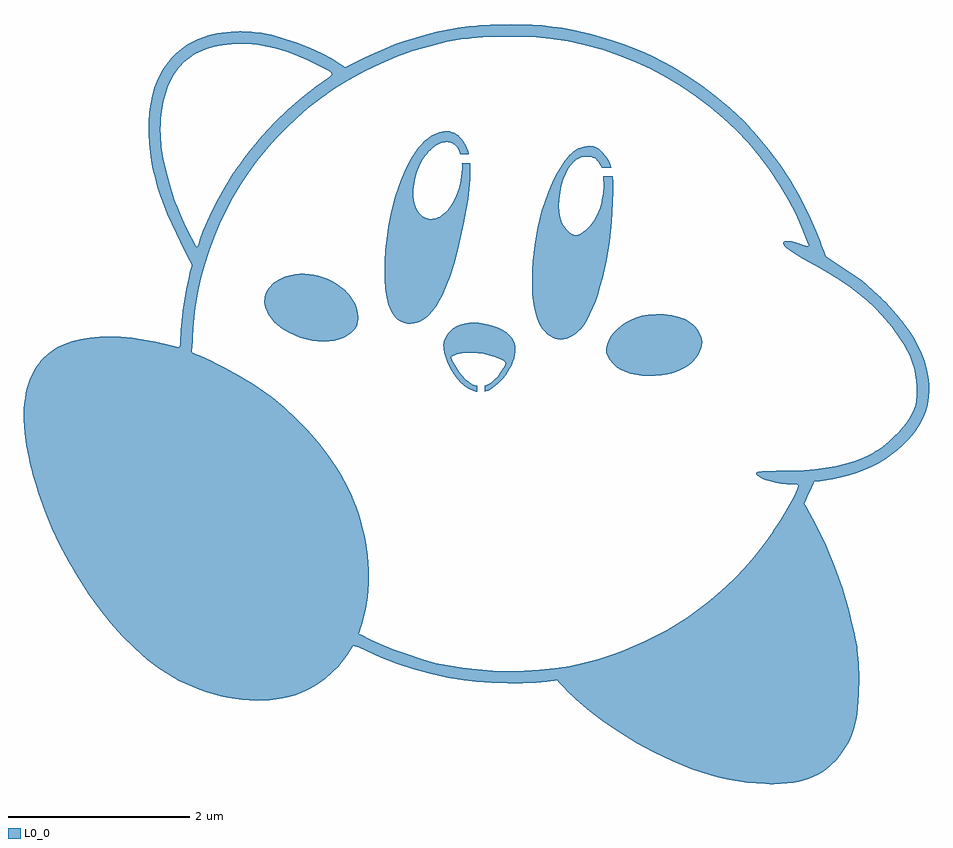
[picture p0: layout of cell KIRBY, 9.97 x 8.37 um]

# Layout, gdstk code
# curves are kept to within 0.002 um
import gdstk
lib = gdstk.Library(unit=1e-6, precision=1e-09)
def P(c, l, *ps):  # polygons
    for p in ps: c.add(gdstk.Polygon(p, *l))
L0_0 = (0, 0)

kirby = lib.new_cell('KIRBY')
P(kirby, L0_0, [(1.888,0.326),(1.818,0.329),(1.751,0.338),(1.688,0.352),(1.629,0.37),(1.577,0.394),(1.522,0.43),(1.457,0.502),(1.433,0.54),(1.419,0.574),(1.419,0.626),(1.428,0.673),(1.445,0.719),(1.469,0.762),(1.501,0.803),(1.538,0.842),(1.582,0.879),(1.631,0.912),(1.686,0.941),(1.746,0.967),(1.811,0.987),(1.883,1.001),(1.968,1.006),(2.057,1.003),(2.183,0.986),(2.228,0.973),(2.277,0.953),(2.337,0.919),(2.371,0.893),(2.402,0.865),(2.426,0.835),(2.446,0.803),(2.462,0.77),(2.471,0.736),(2.475,0.702),(2.471,0.665),(2.451,0.6),(2.421,0.54),(2.402,0.513),(2.355,0.463),(2.297,0.422),(2.226,0.386),(2.163,0.363),(2.097,0.346),(2.028,0.334),(1.958,0.327)],
  [(-1.695,0.705),(-1.821,0.715),(-1.885,0.728),(-1.95,0.747),(-2.014,0.772),(-2.071,0.799),(-2.121,0.828),(-2.207,0.89),(-2.242,0.923),(-2.298,0.994),(-2.318,1.032),(-2.334,1.068),(-2.343,1.106),(-2.347,1.143),(-2.344,1.18),(-2.336,1.218),(-2.314,1.268),(-2.285,1.31),(-2.249,1.347),(-2.228,1.363),(-2.178,1.393),(-2.122,1.416),(-2.055,1.435),(-2.005,1.445),(-1.956,1.449),(-1.854,1.447),(-1.754,1.428),(-1.704,1.413),(-1.609,1.372),(-1.563,1.346),(-1.519,1.316),(-1.478,1.285),(-1.427,1.235),(-1.389,1.187),(-1.349,1.121),(-1.324,1.052),(-1.317,1.018),(-1.314,0.952),(-1.318,0.921),(-1.338,0.863),(-1.358,0.834),(-1.39,0.8),(-1.429,0.772),(-1.474,0.748),(-1.523,0.729),(-1.576,0.716),(-1.634,0.708)],
  [(-2.437,-3.251),(-2.515,-3.248),(-2.67,-3.232),(-2.827,-3.201),(-2.983,-3.157),(-3.061,-3.131),(-3.138,-3.1),(-3.289,-3.03),(-3.434,-2.947),(-3.504,-2.901),(-3.637,-2.801),(-3.705,-2.741),(-3.776,-2.677),(-3.912,-2.54),(-4.043,-2.393),(-4.168,-2.237),(-4.287,-2.073),(-4.399,-1.9),(-4.503,-1.722),(-4.601,-1.538),(-4.688,-1.35),(-4.768,-1.157),(-4.837,-0.96),(-4.897,-0.762),(-4.931,-0.63),(-4.969,-0.44),(-4.988,-0.298),(-4.997,-0.164),(-4.996,-0.039),(-4.984,0.079),(-4.963,0.186),(-4.949,0.236),(-4.931,0.285),(-4.89,0.375),(-4.83,0.467),(-2.885,0.467),(-2.784,0.415),(-2.627,0.328),(-2.478,0.24),(-2.334,0.142),(-2.263,0.089),(-2.127,-0.022),(-1.996,-0.144),(-1.871,-0.272),(-1.755,-0.406),(-1.648,-0.545),(-1.551,-0.687),(-1.508,-0.758),(-1.429,-0.901),(-1.387,-0.99),(-1.35,-1.079),(-1.31,-1.192),(-1.287,-1.267),(-1.248,-1.421),(-1.219,-1.577),(-1.198,-1.808),(-1.198,-1.96),(-1.208,-2.106),(-1.217,-2.177),(-1.245,-2.313),(-1.277,-2.421),(-1.309,-2.514),(-1.079,-2.624),(-0.932,-2.684),(-0.77,-2.742),(-0.607,-2.795),(-0.457,-2.837),(-0.329,-2.864),(-0.168,-2.891),(-0.005,-2.908),(-0.005,-3.042),(-0.149,-3.027),(-0.329,-2.997),(-0.517,-2.954),(-0.704,-2.904),(-0.887,-2.844),(-1.061,-2.777),(-1.307,-2.665),(-1.367,-2.646),(-1.376,-2.653),(-1.431,-2.742),(-1.474,-2.801),(-1.535,-2.877),(-1.603,-2.946),(-1.675,-3.008),(-1.752,-3.065),(-1.836,-3.115),(-1.944,-3.167),(-2.009,-3.191),(-2.144,-3.226),(-2.215,-3.238),(-2.288,-3.246)],
  [(-4.83,0.467),(-4.809,0.493),(-4.742,0.56),(-4.665,0.618),(-4.629,0.639),(-4.551,0.676),(-4.465,0.707),(-4.371,0.73),(-4.27,0.747),(-4.162,0.758),(-4.048,0.76),(-3.929,0.756),(-3.804,0.745),(-3.675,0.727),(-3.543,0.702),(-3.407,0.67),(-3.298,0.64),(-3.283,0.641),(-3.274,0.668),(-3.269,0.827),(-3.245,1.046),(-3.208,1.28),(-3.148,1.553),(-3.274,1.802),(-3.37,2.002),(-3.416,2.109),(-3.494,2.313),(-3.552,2.508),(-3.575,2.602),(-3.605,2.789),(-3.615,2.882),(-3.621,2.999),(-3.621,3.09),(-3.614,3.229),(-3.602,3.327),(-3.584,3.415),(-3.559,3.499),(-3.527,3.582),(-3.477,3.681),(-3.444,3.732),(-3.409,3.781),(-3.33,3.869),(-3.238,3.945),(-3.189,3.978),(-3.136,4.008),(-3.022,4.059),(-2.961,4.08),(-2.869,4.101),(-2.712,4.12),(-2.625,4.122),(-2.488,4.118),(-2.421,4.109),(-2.422,3.973),(-2.483,3.98),(-2.625,3.985),(-2.712,3.981),(-2.812,3.97),(-2.905,3.953),(-2.991,3.927),(-3.071,3.893),(-3.143,3.852),(-3.209,3.802),(-3.269,3.745),(-3.296,3.714),(-3.344,3.646),(-3.387,3.569),(-3.436,3.441),(-3.462,3.346),(-3.479,3.243),(-3.488,3.162),(-3.492,3.042),(-3.481,2.852),(-3.461,2.718),(-3.431,2.579),(-3.37,2.362),(-3.315,2.206),(-3.229,2.006),(-3.149,1.841),(-3.117,1.782),(-3.096,1.75),(-3.087,1.75),(-3.072,1.776),(-3.058,1.826),(-3.025,1.918),(-2.979,2.028),(-2.921,2.149),(-2.855,2.276),(-2.784,2.402),(-2.694,2.552),(-2.641,2.63),(-2.509,2.808),(-2.428,2.905),(-2.429,2.689),(-2.523,2.559),(-2.611,2.425),(-2.694,2.287),(-2.77,2.146),(-2.838,2.001),(-2.901,1.853),(-2.956,1.703),(-3.005,1.55),(-3.047,1.395),(-3.081,1.238),(-3.107,1.079),(-3.127,0.919),(-3.147,0.585),(-3.102,0.563),(-3.055,0.546),(-2.934,0.492),(-2.885,0.467)],
  [(-2.429,2.689),(-2.428,2.905),(-2.377,2.965),(-2.235,3.118),(-2.085,3.262),(-1.932,3.396),(-1.777,3.519),(-1.622,3.627),(-1.607,3.642),(-1.612,3.667),(-1.658,3.699),(-1.867,3.805),(-2.012,3.865),(-2.158,3.914),(-2.234,3.935),(-2.31,3.953),(-2.422,3.973),(-2.421,4.109),(-2.379,4.105),(-2.299,4.09),(-2.13,4.043),(-1.988,3.995),(-1.849,3.94),(-1.717,3.88),(-1.601,3.818),(-1.458,3.726),(-1.247,3.832),(-1.022,3.933),(-0.909,3.978),(-0.796,4.018),(-0.567,4.087),(-0.45,4.115),(-0.216,4.16),(-0.01,4.185),(-0.01,4.054),(-0.15,4.038),(-0.336,4.005),(-0.522,3.96),(-0.707,3.906),(-0.889,3.841),(-1.068,3.767),(-1.243,3.682),(-1.414,3.589),(-1.577,3.488),(-1.738,3.375),(-1.868,3.274),(-1.991,3.167),(-2.109,3.055),(-2.222,2.938),(-2.328,2.816)],
  [(3.222,-4.17),(3.073,-4.164),(2.875,-4.14),(2.773,-4.122),(2.672,-4.1),(2.57,-4.073),(2.363,-4.006),(2.151,-3.921),(1.943,-3.821),(1.753,-3.719),(1.571,-3.607),(1.397,-3.488),(1.235,-3.366),(1.09,-3.241),(0.986,-3.141),(0.878,-3.027),(0.766,-3.042),(0.649,-3.053),(0.501,-3.059),(0.332,-3.059),(0.159,-3.053),(-0.005,-3.042),(-0.005,-2.908),(0.17,-2.921),(0.343,-2.926),(0.516,-2.922),(0.686,-2.912),(0.853,-2.894),(1.016,-2.87),(1.196,-2.83),(1.329,-2.794),(1.461,-2.753),(1.59,-2.707),(1.842,-2.6),(1.965,-2.539),(2.085,-2.474),(2.202,-2.405),(2.316,-2.331),(2.428,-2.252),(2.536,-2.17),(2.641,-2.082),(2.742,-1.992),(2.841,-1.897),(2.935,-1.799),(3.024,-1.697),(3.111,-1.591),(3.243,-1.411),(3.339,-1.259),(3.417,-1.128),(3.483,-1.01),(3.525,-0.922),(3.536,-0.891),(3.536,-0.878),(3.525,-0.871),(3.501,-0.867),(3.406,-0.866),(3.346,-0.86),(3.232,-0.837),(3.137,-0.805),(3.103,-0.786),(3.073,-0.759),(3.071,-0.746),(3.075,-0.737),(3.095,-0.731),(3.137,-0.726),(3.202,-0.722),(3.468,-0.719),(3.598,-0.713),(3.838,-0.687),(3.949,-0.667),(4.052,-0.642),(4.149,-0.613),(4.239,-0.579),(4.343,-0.531),(4.442,-0.47),(4.543,-0.387),(4.592,-0.34),(4.639,-0.292),(4.722,-0.193),(4.782,-0.098),(4.81,-0.038),(4.828,0.009),(4.959,0.01),(4.937,-0.067),(4.906,-0.144),(4.865,-0.219),(4.816,-0.293),(4.745,-0.378),(4.686,-0.438),(4.625,-0.493),(4.561,-0.545),(4.492,-0.592),(4.421,-0.635),(4.345,-0.674),(4.266,-0.71),(4.184,-0.74),(4.009,-0.791),(3.915,-0.81),(3.71,-0.841),(3.606,-1.07),(3.602,-1.081),(3.735,-1.322),(3.842,-1.546),(3.938,-1.778),(4.022,-2.018),(4.095,-2.266),(4.156,-2.52),(4.175,-2.611),(4.186,-2.69),(4.199,-2.839),(4.204,-3.007),(4.202,-3.178),(4.184,-3.401),(4.17,-3.484),(4.151,-3.55),(4.122,-3.633),(4.088,-3.708),(4.049,-3.778),(4.005,-3.841),(3.956,-3.901),(3.886,-3.97),(3.843,-4.006),(3.797,-4.039),(3.751,-4.067),(3.702,-4.092),(3.597,-4.131),(3.539,-4.145),(3.412,-4.162),(3.342,-4.167)],
  [(4.828,0.009),(4.836,0.055),(4.841,0.152),(4.839,0.206),(4.836,0.275),(4.826,0.342),(4.812,0.408),(4.792,0.473),(4.766,0.538),(4.695,0.673),(4.649,0.745),(4.562,0.865),(4.453,0.994),(4.376,1.075),(4.293,1.153),(4.204,1.228),(4.108,1.302),(3.888,1.447),(3.586,1.618),(3.481,1.682),(3.41,1.733),(3.373,1.77),(3.368,1.786),(3.369,1.798),(3.388,1.809),(3.421,1.812),(3.464,1.807),(3.517,1.795),(3.595,1.767),(3.649,1.752),(3.644,1.775),(3.603,1.885),(3.51,2.099),(3.423,2.269),(3.325,2.434),(3.219,2.593),(3.104,2.746),(2.981,2.892),(2.849,3.032),(2.71,3.163),(2.564,3.287),(2.411,3.403),(2.252,3.512),(2.088,3.612),(1.917,3.702),(1.742,3.783),(1.562,3.855),(1.378,3.918),(1.19,3.97),(0.998,4.012),(0.804,4.043),(0.648,4.056),(0.452,4.063),(0.248,4.065),(0.059,4.059),(-0.01,4.054),(-0.01,4.185),(0.143,4.196),(0.379,4.203),(0.605,4.196),(0.716,4.187),(0.933,4.16),(1.042,4.14),(1.258,4.09),(1.477,4.026),(1.73,3.935),(1.838,3.89),(1.942,3.842),(2.152,3.73),(2.285,3.65),(2.459,3.534),(2.626,3.408),(2.785,3.273),(2.937,3.129),(3.079,2.978),(3.212,2.819),(3.337,2.652),(3.451,2.478),(3.556,2.296),(3.651,2.109),(3.735,1.918),(3.838,1.643),(4.168,1.426),(4.232,1.378),(4.356,1.272),(4.497,1.135),(4.621,1),(4.692,0.913),(4.756,0.826),(4.811,0.74),(4.858,0.655),(4.897,0.57),(4.928,0.487),(4.951,0.402),(4.966,0.318),(4.975,0.232),(4.976,0.146),(4.973,0.1),(4.959,0.01)],
  [(1.236,2.859),(1.276,2.856),(1.306,2.847),(1.337,2.826),(1.376,2.788),(1.413,2.747),(1.443,2.706),(1.465,2.659),(1.476,2.621),(1.369,2.621),(1.335,2.682),(1.308,2.712),(1.272,2.732),(1.231,2.742),(1.204,2.743),(1.166,2.739),(1.123,2.726),(1.085,2.705),(1.056,2.68),(1.037,2.659),(1.003,2.612),(0.972,2.554),(0.946,2.49),(0.925,2.421),(0.91,2.349),(0.901,2.275),(0.898,2.203),(0.906,2.099),(0.924,2.029),(0.935,2.005),(0.976,1.94),(1.01,1.907),(1.044,1.886),(1.079,1.878),(1.108,1.882),(1.137,1.894),(1.168,1.912),(1.229,1.967),(1.258,2.002),(1.285,2.042),(1.332,2.13),(1.355,2.19),(1.369,2.24),(1.384,2.341),(1.389,2.427),(1.386,2.526),(1.492,2.526),(1.497,2.358),(1.481,2.022),(1.457,1.809),(1.423,1.603),(1.379,1.409),(1.355,1.319),(1.301,1.15),(1.271,1.075),(1.239,1.007),(1.208,0.945),(1.175,0.89),(1.141,0.846),(1.113,0.816),(1.05,0.768),(0.982,0.736),(0.948,0.728),(0.915,0.725),(0.884,0.728),(0.856,0.735),(0.799,0.766),(0.771,0.787),(0.721,0.841),(0.698,0.87),(0.681,0.902),(0.658,0.953),(0.641,1.012),(0.625,1.078),(0.615,1.15),(0.606,1.228),(0.602,1.312),(0.601,1.399),(0.609,1.583),(0.63,1.773),(0.664,1.965),(0.711,2.149),(0.739,2.238),(0.779,2.349),(0.823,2.452),(0.869,2.545),(0.916,2.627),(0.964,2.698),(1.013,2.756),(1.038,2.78),(1.063,2.801),(1.111,2.833),(1.169,2.85)],
  [(-0.331,3.022),(-0.304,3.019),(-0.257,3.003),(-0.214,2.975),(-0.194,2.956),(-0.156,2.909),(-0.13,2.866),(-0.104,2.805),(-0.096,2.77),(-0.188,2.77),(-0.212,2.828),(-0.247,2.869),(-0.268,2.883),(-0.305,2.898),(-0.324,2.902),(-0.383,2.899),(-0.423,2.883),(-0.464,2.859),(-0.507,2.825),(-0.555,2.775),(-0.611,2.694),(-0.642,2.634),(-0.667,2.572),(-0.687,2.507),(-0.707,2.378),(-0.707,2.315),(-0.701,2.258),(-0.688,2.203),(-0.668,2.156),(-0.655,2.135),(-0.641,2.116),(-0.614,2.092),(-0.576,2.068),(-0.536,2.056),(-0.495,2.055),(-0.454,2.063),(-0.411,2.082),(-0.391,2.095),(-0.351,2.128),(-0.301,2.187),(-0.27,2.233),(-0.244,2.283),(-0.222,2.339),(-0.202,2.399),(-0.184,2.476),(-0.176,2.525),(-0.171,2.572),(-0.171,2.67),(-0.081,2.67),(-0.078,2.586),(-0.081,2.492),(-0.089,2.386),(-0.103,2.27),(-0.149,2.009),(-0.217,1.712),(-0.258,1.56),(-0.302,1.423),(-0.348,1.303),(-0.395,1.199),(-0.419,1.153),(-0.47,1.072),(-0.497,1.038),(-0.523,1.007),(-0.578,0.956),(-0.636,0.923),(-0.667,0.912),(-0.728,0.901),(-0.774,0.903),(-0.814,0.912),(-0.861,0.935),(-0.883,0.95),(-0.922,0.993),(-0.954,1.047),(-0.981,1.114),(-1.001,1.193),(-1.015,1.285),(-1.022,1.389),(-1.024,1.505),(-1.016,1.686),(-1.005,1.795),(-0.982,1.967),(-0.95,2.132),(-0.91,2.287),(-0.862,2.433),(-0.836,2.502),(-0.809,2.567),(-0.749,2.687),(-0.684,2.792),(-0.651,2.838),(-0.581,2.914),(-0.544,2.945),(-0.508,2.97),(-0.47,2.99),(-0.422,3.008),(-0.368,3.019)],
  [(-0.038,0.913),(0.072,0.903),(0.126,0.892),(0.229,0.855),(0.275,0.832),(0.316,0.805),(0.351,0.775),(0.381,0.742),(0.401,0.709),(0.416,0.653),(0.419,0.622),(0.417,0.589),(0.404,0.519),(0.376,0.446),(0.335,0.372),(0.282,0.3),(0.225,0.239),(0.198,0.215),(0.171,0.195),(0.118,0.165),(0.082,0.153),(0.081,0.219),(0.117,0.232),(0.152,0.253),(0.186,0.281),(0.221,0.316),(0.253,0.359),(0.299,0.433),(0.308,0.452),(0.31,0.467),(0.303,0.48),(0.289,0.493),(0.265,0.505),(0.126,0.555),(0.008,0.578),(-0.112,0.58),(-0.171,0.573),(-0.227,0.562),(-0.288,0.539),(-0.289,0.527),(-0.282,0.507),(-0.236,0.42),(-0.203,0.369),(-0.169,0.325),(-0.134,0.288),(-0.098,0.259),(-0.063,0.236),(-0.028,0.221),(-0.004,0.216),(-0.004,0.15),(-0.017,0.152),(-0.074,0.172),(-0.109,0.19),(-0.148,0.219),(-0.185,0.253),(-0.221,0.293),(-0.254,0.336),(-0.311,0.432),(-0.334,0.482),(-0.352,0.532),(-0.374,0.627),(-0.375,0.67),(-0.363,0.73),(-0.345,0.765),(-0.323,0.796),(-0.296,0.826),(-0.264,0.852),(-0.229,0.873),(-0.191,0.889),(-0.143,0.903),(-0.091,0.91)])

lib.write_gds('KIRBY.gds')
